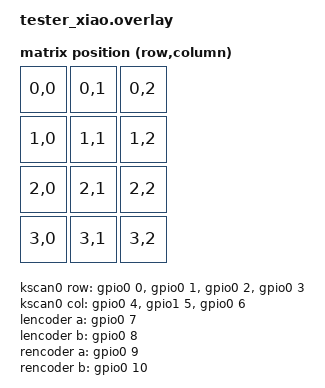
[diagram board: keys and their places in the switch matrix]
#include <zephyr/dt-bindings/gpio/gpio.h>
#include <dt-bindings/zmk/matrix_transform.h>

/ {
    chosen {
        zmk,kscan = &kscan0;
        zmk,physical-layout = &physical_layout0;
    };

    kscan0: kscan {
        compatible = "zmk,kscan-gpio-matrix";
        diode-direction = "col2row";
        label = "default_kscan";

        col-gpios = <
            &gpio0 4 GPIO_ACTIVE_HIGH  /* D4 */
            &gpio1 5  GPIO_ACTIVE_HIGH  /* D5 */
            &gpio0 6 GPIO_ACTIVE_HIGH  /* D6 */
        >;

        row-gpios = <
            &gpio0 0 (GPIO_ACTIVE_HIGH | GPIO_PULL_DOWN)  /* D0 */
            &gpio0 1 (GPIO_ACTIVE_HIGH | GPIO_PULL_DOWN)  /* D1 */
            &gpio0 2 (GPIO_ACTIVE_HIGH | GPIO_PULL_DOWN)  /* D2 */
            &gpio0 3 (GPIO_ACTIVE_HIGH | GPIO_PULL_DOWN)  /* D3 */
        >;

    };

    default_transform: keymap_transform0 {
        compatible = "zmk,matrix-transform";
        columns = <3>;
        rows = <4>;
        map = <
            RC(0,0) RC(0,1) RC(0,2)
            RC(1,0) RC(1,1) RC(1,2)
            RC(2,0) RC(2,1) RC(2,2)
            RC(3,0) RC(3,1) RC(3,2)
        >;
    };

    physical_layout0: physical_layout_0 {
        compatible = "zmk,physical-layout";
        display-name = "Default Layout";
        kscan = <&kscan0>;
        transform = <&default_transform>;
    };

    lencoder: lencoder {
        compatible = "alps,ec11";
        a-gpios = <&gpio0 7 (GPIO_ACTIVE_HIGH | GPIO_PULL_UP)>;  /* D7 */
        b-gpios = <&gpio0 8 (GPIO_ACTIVE_HIGH | GPIO_PULL_UP)>;  /* D8 */
        steps = <24>;
        status = "okay";
    };

    rencoder: rencoder {
        compatible = "alps,ec11";
        a-gpios = <&gpio0 9 (GPIO_ACTIVE_HIGH | GPIO_PULL_UP)>;  /* D9 */
        b-gpios = <&gpio0 10 (GPIO_ACTIVE_HIGH | GPIO_PULL_UP)>;  /* D10 */
        steps = <24>;
        status = "okay";
    };

    sensors: sensors {
        compatible = "zmk,keymap-sensors";
        sensors = <&lencoder>, <&rencoder>;
        triggers-per-rotation = <20>;
    };
};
